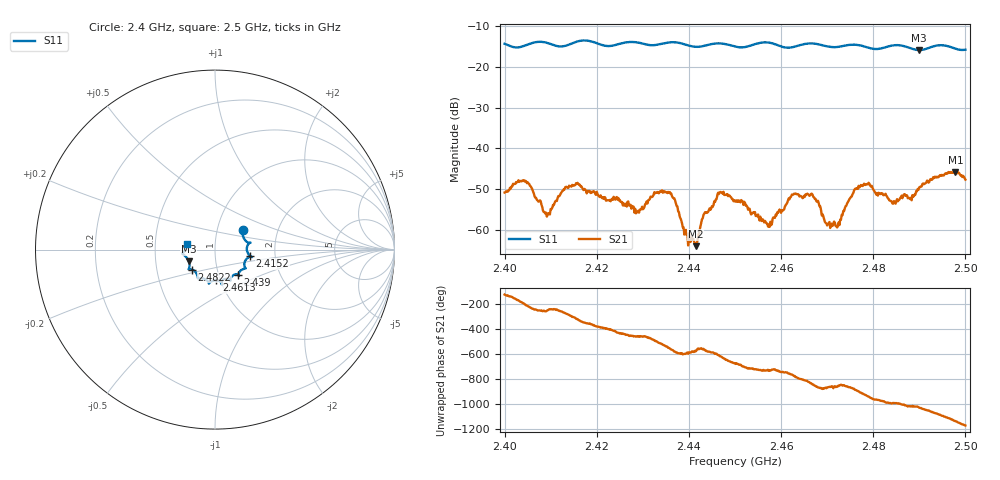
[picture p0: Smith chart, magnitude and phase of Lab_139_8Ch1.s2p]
# Hz S RI R 50
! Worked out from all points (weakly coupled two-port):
!   601 points, 2.4 GHz to 2.5 GHz, reference 50 ohm
!   highest |S21| = -45.75 dB at 2.4978 GHz (marker M1); lowest = -63.9 dB at 2.4415 GHz (marker M2)
!   lowest |S11| = -15.9 dB at 2.4898 GHz (marker M3), VSWR 1.38, Z = 37 - j5.03 ohm
!   |S11| at or under -10 dB: start of sweep to end of sweep
!   S12 and S22 are empty: the file has one direction only
!   S11 on the Smith chart (normalised r, x): 2.4 GHz: 1.33, +0.31; 2.4152 GHz: 1.48, -0.11; 2.439 GHz: 1.24, -0.36; 2.4613 GHz: 0.96, -0.34; 2.4822 GHz: 0.76, -0.17; 2.5 GHz: 0.73, +0.05
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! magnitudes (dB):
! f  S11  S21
! 2.4 GHz  -14.4  -50.8
! 2.4047 GHz  -14.7  -48.0
! 2.4093 GHz  -14.2  -56.3
! 2.4152 GHz  -14.1  -49.0
! 2.4167 GHz  -13.6  -49.3
! 2.4287 GHz  -14.0  -55.7
! 2.4333 GHz  -14.5  -50.8
! 2.4363 GHz  -14.0  -51.7
! 2.439 GHz  -14.5  -61.1
! 2.4415 GHz  -15.1  -63.9
! 2.4467 GHz  -14.3  -50.8
! 2.45 GHz  -15.0  -53.0
! 2.4575 GHz  -14.1  -59.2
! 2.4613 GHz  -15.3  -53.3
! 2.4667 GHz  -14.3  -51.1
! 2.4722 GHz  -15.2  -59.3
! 2.4763 GHz  -14.6  -49.9
! 2.4822 GHz  -15.4  -51.4
! 2.4833 GHz  -15.0  -52.3
! 2.4898 GHz  -15.9  -50.1
! 2.4978 GHz  -15.6  -45.8
! 2.5 GHz  -15.8  -47.6
